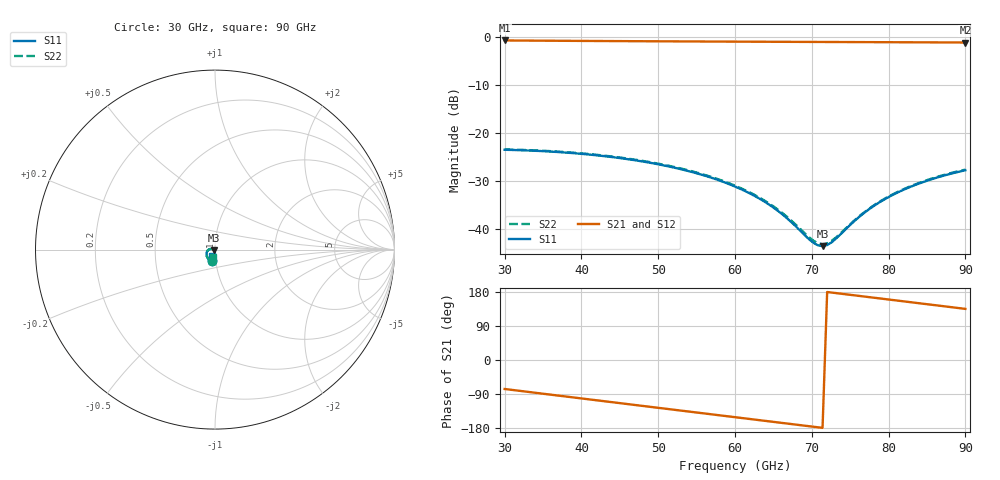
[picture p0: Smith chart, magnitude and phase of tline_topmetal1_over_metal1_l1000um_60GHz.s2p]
#  GHZ S DB R 50
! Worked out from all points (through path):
!   101 points, 30 GHz to 90 GHz, reference 50 ohm
!   highest |S21| = -0.77 dB at 30 GHz (marker M1); lowest = -1.2 dB at 90 GHz (marker M2)
!   group delay of S21, straight-line fit = 6.88 ps
!   lowest |S11| = -43.7 dB at 71.4 GHz (marker M3), VSWR 1.01, Z = 49.5 - j0.408 ohm
!   |S11| at or under -10 dB: start of sweep to end of sweep
!   |S22| runs from -43.3 to -23.5 dB; largest |S21 - S12| = 1.6e-13
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30  -23.56 -103.5  -0.77 -76.5  -0.77 -76.5  -23.49 -103.2
34.8  -23.84 -119.2  -0.81 -88.5  -0.81 -88.5  -23.75 -118.8
40.2  -24.44 -135.9  -0.86 -101.9  -0.86 -101.9  -24.34 -135.5
45  -25.29 -150.0  -0.90 -113.8  -0.90 -113.8  -25.18 -149.4
50.4  -26.72 -164.9  -0.95 -127.2  -0.95 -127.2  -26.58 -164.1
55.8  -28.83 -178.3  -0.99 -140.5  -0.99 -140.5  -28.68 -177.3
60  -31.23 173.2  -1.01 -150.9  -1.01 -150.9  -31.05 174.3
63  -33.58 169.2  -1.03 -158.3  -1.03 -158.3  -33.37 170.5
65.4  -36.08 169.0  -1.05 -164.3  -1.05 -164.3  -35.82 170.3
67.2  -38.45 172.6  -1.06 -168.7  -1.06 -168.7  -38.15 174.0
70.2  -42.95 -161.7  -1.08 -176.1  -1.08 -176.1  -42.51 -161.2
70.8  -43.49 -151.9  -1.08 -177.6  -1.08 -177.6  -43.06 -151.8
71.4  -43.67 -141.0  -1.08 -179.1  -1.08 -179.1  -43.26 -141.3
72  -43.43 -130.2  -1.09 179.4  -1.09 179.4  -43.08 -130.8
72.6  -42.84 -120.6  -1.09 177.9  -1.09 177.9  -42.55 -121.3
75.6  -38.35 -96.2  -1.11 170.5  -1.11 170.5  -38.22 -96.2
76.8  -36.75 -93.3  -1.11 167.5  -1.11 167.5  -36.63 -93.1
78.6  -34.73 -92.2  -1.13 163.1  -1.13 163.1  -34.62 -91.8
80.4  -33.09 -93.2  -1.14 158.6  -1.14 158.6  -32.97 -92.6
82.2  -31.72 -95.4  -1.15 154.2  -1.15 154.2  -31.61 -94.6
84.6  -30.24 -99.3  -1.16 148.3  -1.16 148.3  -30.11 -98.3
90  -27.84 -110.2  -1.20 134.9  -1.20 134.9  -27.70 -108.9
